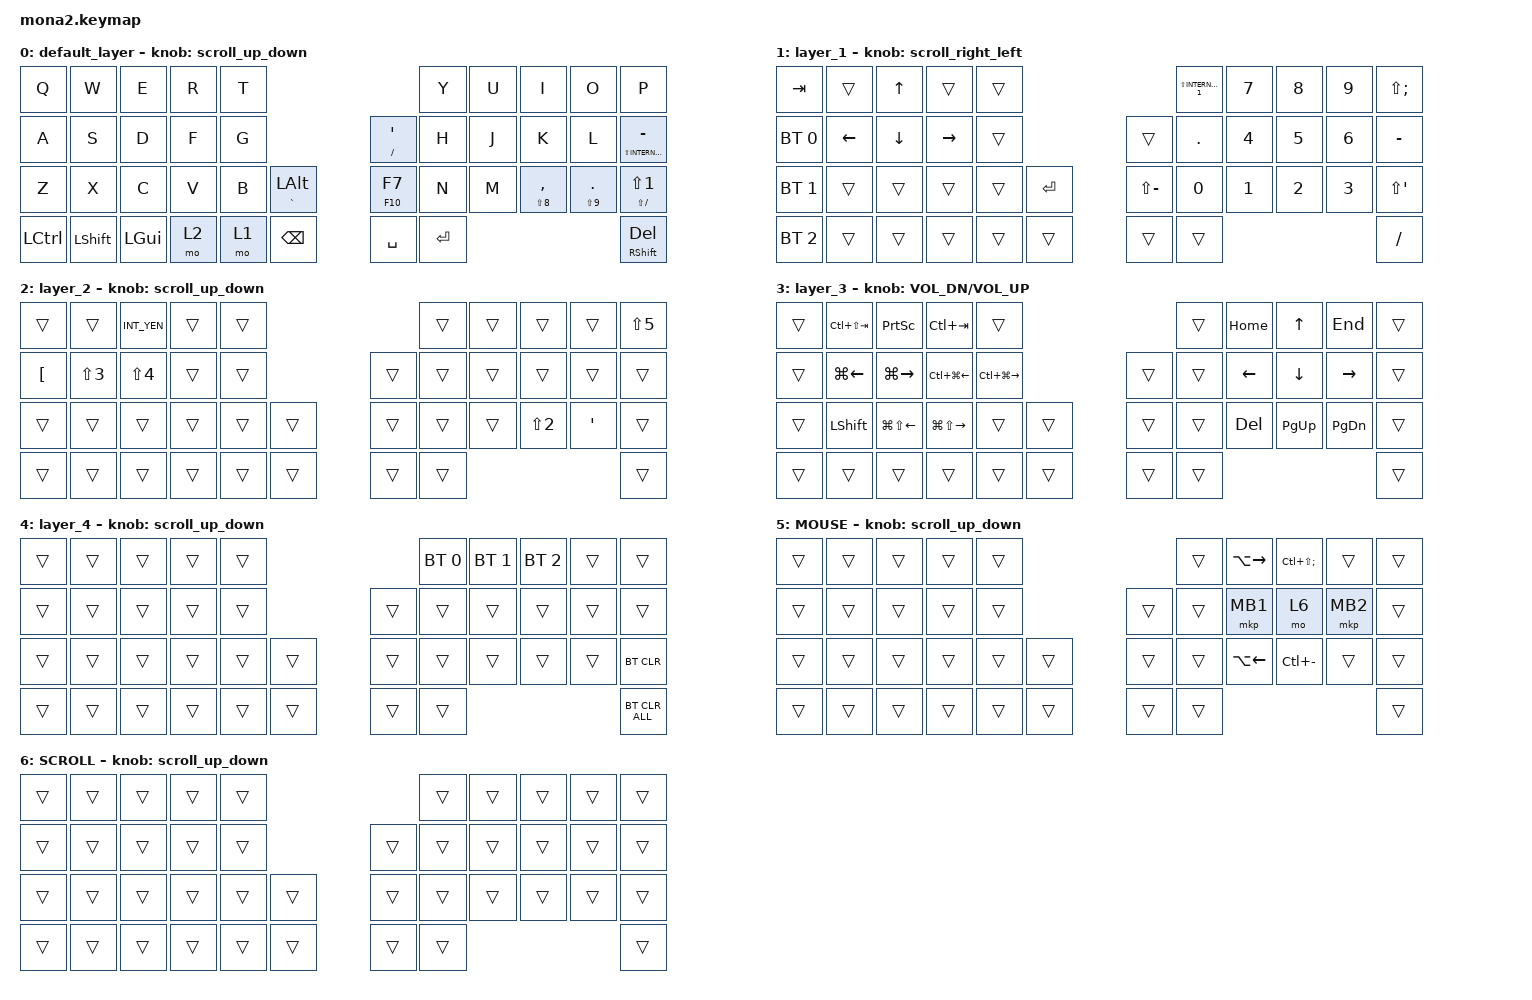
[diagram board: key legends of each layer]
#include <input/processors.dtsi>
#include <dt-bindings/zmk/input_transform.h>
#include <zephyr/dt-bindings/input/input-event-codes.h>
#include <behaviors.dtsi>
#include <dt-bindings/zmk/bt.h>
#include <dt-bindings/zmk/keys.h>
#include <dt-bindings/zmk/pointing.h>

#define ZMK_POINTING_DEFAULT_SCRL_VAL 100
#define MOUSE 5
#define SCROLL 6

&mt {
    flavor = "balanced";
    quick-tap-ms = <0>;
};

&lt {
    quick-tap-ms = <300>;
    flavor = "balanced";
};

/ {
    combos {
        compatible = "zmk,combos";

        layer0_ESC {
            bindings = <&lt 0 ESC>;
            key-positions = <39 38>;
        };

        tab {
            bindings = <&kp TAB>;
            key-positions = <0 1>;
        };

        layer0_backspace {
            bindings = <&lt 0 BACKSPACE>;
            key-positions = <9 20>;
        };

        number {
            bindings = <&tog 1>;
            key-positions = <39 40>;
        };
    };

    macros {
        to_layer_0: to_layer_0 {
            compatible = "zmk,behavior-macro-one-param";
            #binding-cells = <1>;
            bindings = <&to 0 &macro_param_1to1 &kp MACRO_PLACEHOLDER>;
            label = "TO_LAYER_0";
        };

        login: login {
            compatible = "zmk,behavior-macro";
            #binding-cells = <0>;
            bindings = <&none &kp LS(K) &kp A &kp K &kp I &kp Y &kp A &kp Y &kp O>;
            label = "LOGIN";
        };

        USB: USB {
            compatible = "zmk,behavior-macro";
            #binding-cells = <0>;
            bindings = <&none &kp R &kp D &kp C &kp MINUS &kp W &kp N2 &kp N5 &kp N0 &kp N3>;
            label = "USB";
        };
    };

    behaviors {
        lt_to_layer_0: lt_to_layer_0 {
            compatible = "zmk,behavior-hold-tap";
            label = "LAYER_TAP_TO_0";
            bindings = <&mo>, <&to_layer_0>;

            #binding-cells = <2>;
            tapping-term-ms = <200>;
        };

        scroll_up_down: mouse_wheel_up_down {
            compatible = "zmk,behavior-sensor-rotate";
            #sensor-binding-cells = <0>;
            bindings = <&msc SCRL_UP>, <&msc SCRL_DOWN>;

            tap-ms = <20>;
        };

        scroll_right_left: mouse_wheel_right_left {
            compatible = "zmk,behavior-sensor-rotate";
            #sensor-binding-cells = <0>;
            bindings = <&msc SCRL_LEFT>, <&msc SCRL_RIGHT>;

            tap-ms = <20>;
        };
    };

    keymap {
        compatible = "zmk,keymap";

        default_layer {
            bindings = <
&kp Q      &kp W       &kp E         &kp R  &kp T                                            &kp Y      &kp U  &kp I                   &kp O                    &kp P
&kp A      &kp S       &kp D         &kp F  &kp G                    &mt SLASH SINGLE_QUOTE  &kp H      &kp J  &kp K                   &kp L                    &mt LS(INTERNATIONAL_1) MINUS
&kp Z      &kp X       &kp C         &kp V  &kp B  &mt GRAVE LALT    &mt F10 F7              &kp N      &kp M  &mt LS(NUMBER_8) COMMA  &mt LS(NUMBER_9) PERIOD  &mt LS(SLASH) LS(NUMBER_1)
&kp LCTRL  &kp LSHIFT  &kp LEFT_GUI  &mo 2  &mo 1  &kp BACKSPACE     &kp SPACE               &kp ENTER                                                          &mt RSHIFT DEL
            >;

            sensor-bindings = <&scroll_up_down>;
        };

        layer_1 {
            bindings = <
&kp TAB       &trans          &kp UP_ARROW  &trans     &trans                              &kp LS(INTERNATIONAL_1)  &kp NUMBER_7  &kp NUMBER_8  &kp NUMBER_9  &kp LS(SEMI)
&bt BT_SEL 0  &kp LEFT_ARROW  &kp DOWN      &kp RIGHT  &trans               &trans         &kp PERIOD               &kp NUMBER_4  &kp NUMBER_5  &kp NUMBER_6  &kp MINUS
&bt BT_SEL 1  &trans          &trans        &trans     &trans  &kp ENTER    &kp LS(MINUS)  &kp NUMBER_0             &kp NUMBER_1  &kp NUMBER_2  &kp NUMBER_3  &kp LS(SINGLE_QUOTE)
&bt BT_SEL 2  &trans          &trans        &trans     &trans  &trans       &trans         &trans                                                             &kp SLASH
            >;

            sensor-bindings = <&scroll_right_left>;
        };

        layer_2 {
            bindings = <
&trans            &trans            &kp INT_YEN       &trans  &trans                    &trans  &trans  &trans            &trans   &kp LS(N5)
&kp LEFT_BRACKET  &kp LS(NUMBER_3)  &kp LS(NUMBER_4)  &trans  &trans            &trans  &trans  &trans  &trans            &trans   &trans
&trans            &trans            &trans            &trans  &trans  &trans    &trans  &trans  &trans  &kp LS(NUMBER_2)  &kp SQT  &trans
&trans            &trans            &trans            &trans  &trans  &trans    &trans  &trans                                     &trans
            >;

            sensor-bindings = <&scroll_up_down>;
        };

        layer_3 {
            bindings = <
&trans  &kp LC(LS(TAB))     &kp PRINTSCREEN         &kp LC(TAB)              &trans                                     &trans  &kp HOME        &kp UP_ARROW    &kp END          &trans
&trans  &kp LG(LEFT_ARROW)  &kp LG(RIGHT_ARROW)     &kp LC(LG(LEFT_ARROW))   &kp LC(LG(RIGHT_ARROW))            &trans  &trans  &kp LEFT_ARROW  &kp DOWN_ARROW  &kp RIGHT_ARROW  &trans
&trans  &kp LEFT_SHIFT      &kp LG(LS(LEFT_ARROW))  &kp LG(LS(RIGHT_ARROW))  &trans                   &trans    &trans  &trans  &kp DELETE      &kp PAGE_UP     &kp PAGE_DOWN    &trans
&trans  &trans              &trans                  &trans                   &trans                   &trans    &trans  &trans                                                   &trans
            >;

            sensor-bindings = <&inc_dec_kp C_VOL_DN C_VOL_UP>;
        };

        layer_4 {
            bindings = <
&trans  &trans  &trans  &trans  &trans                    &bt BT_SEL 0  &bt BT_SEL 1  &bt BT_SEL 2  &trans  &trans
&trans  &trans  &trans  &trans  &trans            &trans  &trans        &trans        &trans        &trans  &trans
&trans  &trans  &trans  &trans  &trans  &trans    &trans  &trans        &trans        &trans        &trans  &bt BT_CLR
&trans  &trans  &trans  &trans  &trans  &trans    &trans  &trans                                            &bt BT_CLR_ALL
            >;

            sensor-bindings = <&scroll_up_down>;
        };

        MOUSE {
            bindings = <
&trans  &trans  &trans  &trans  &trans                    &trans  &kp LA(RIGHT)       &kp LC(LS(SEMICOLON))  &trans    &trans
&trans  &trans  &trans  &trans  &trans            &trans  &trans  &mkp MB1            &mo 6                  &mkp MB2  &trans
&trans  &trans  &trans  &trans  &trans  &trans    &trans  &trans  &kp LA(LEFT_ARROW)  &kp LC(MINUS)          &trans    &trans
&trans  &trans  &trans  &trans  &trans  &trans    &trans  &trans                                                       &trans
            >;

            sensor-bindings = <&scroll_up_down>;
        };

        SCROLL {
            bindings = <
&trans  &trans  &trans  &trans  &trans                    &trans  &trans  &trans  &trans  &trans
&trans  &trans  &trans  &trans  &trans            &trans  &trans  &trans  &trans  &trans  &trans
&trans  &trans  &trans  &trans  &trans  &trans    &trans  &trans  &trans  &trans  &trans  &trans
&trans  &trans  &trans  &trans  &trans  &trans    &trans  &trans                          &trans
            >;

            sensor-bindings = <&scroll_up_down>;
        };
    };
};
